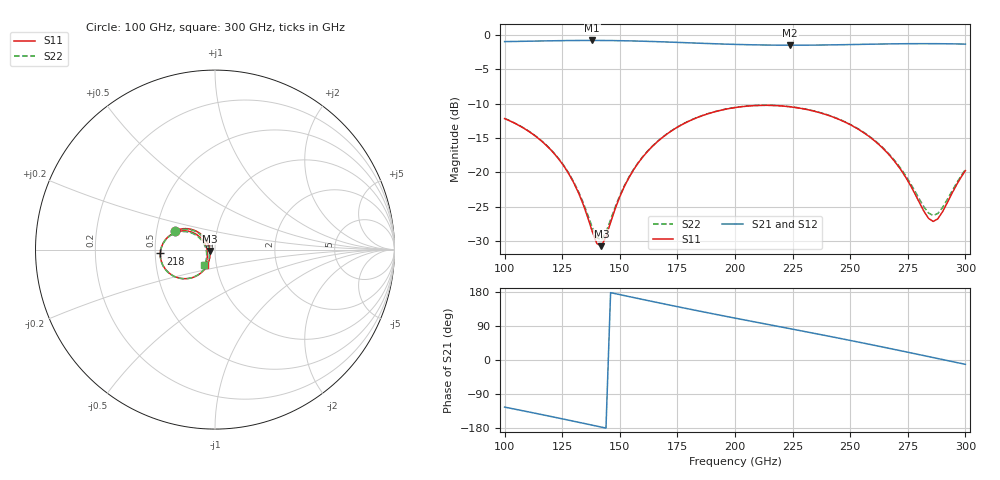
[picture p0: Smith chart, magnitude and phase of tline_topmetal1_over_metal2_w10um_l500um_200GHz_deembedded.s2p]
! Created with skrf 2.2.0 (http://scikit-rf.org).
# GHz S DB R 50.0
! Port[1] = P1
! Port[2] = P2
!freq dBS11 angS11 dBS21 angS21 dBS12 angS12 dBS22 angS22
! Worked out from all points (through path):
!   101 points, 100 GHz to 300 GHz, reference 50 ohm
!   highest |S21| = -0.85 dB at 138 GHz (marker M1); lowest = -1.5 dB at 224 GHz (marker M2)
!   group delay of S21, straight-line fit = 3.4 ps
!   lowest |S11| = -30.7 dB at 142 GHz (marker M3), VSWR 1.06, Z = 47.3 - j0.708 ohm
!   |S11| at or under -10 dB: start of sweep to end of sweep
!   |S22| runs from -29.8 to -10.3 dB; largest |S21 - S12| = 9.6e-14
!   S11 on the Smith chart (normalised r, x): 100 GHz: 0.62, +0.14; 218 GHz: 0.53, -0.02; 300 GHz: 0.88, -0.15
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100  -12.19 154.8  -1.01 -124.3  -1.01 -124.3  -12.17 155.7
120  -16.71 135.4  -0.90 -148.9  -0.90 -148.9  -16.66 136.9
128  -20.29 131.5  -0.86 -159.1  -0.86 -159.1  -20.18 133.6
134  -24.55 135.9  -0.85 -166.8  -0.85 -166.8  -24.29 138.8
138  -28.52 152.0  -0.85 -171.9  -0.85 -171.9  -27.93 155.2
140  -30.31 170.2  -0.85 -174.5  -0.85 -174.5  -29.46 172.2
142  -30.71 -165.1  -0.85 -177.1  -0.85 -177.1  -29.80 -165.7
154  -20.74 -116.5  -0.91 167.4  -0.91 167.4  -20.65 -117.9
160  -17.75 -118.5  -0.96 159.7  -0.96 159.7  -17.70 -119.3
168  -15.06 -124.7  -1.04 149.5  -1.04 149.5  -15.04 -125.1
184  -11.99 -140.6  -1.24 129.7  -1.24 129.7  -11.97 -140.6
200  -10.59 -157.4  -1.42 110.6  -1.42 110.6  -10.58 -157.0
218  -10.31 -176.0  -1.53 89.5  -1.53 89.5  -10.29 -175.4
224  -10.48 177.8  -1.53 82.5  -1.53 82.5  -10.46 178.6
234  -11.09 167.8  -1.52 70.8  -1.52 70.8  -11.06 168.7
254  -13.83 149.0  -1.42 46.8  -1.42 46.8  -13.78 150.5
268  -17.88 140.5  -1.34 29.4  -1.34 29.4  -17.75 142.8
274  -20.65 141.7  -1.32 21.8  -1.32 21.8  -20.43 144.5
282  -25.64 161.3  -1.31 11.6  -1.31 11.6  -25.01 164.2
286  -27.11 -171.9  -1.31 6.4  -1.31 6.4  -26.26 -171.4
290  -25.76 -144.6  -1.32 1.3  -1.32 1.3  -25.14 -146.6
300  -19.73 -122.9  -1.38 -11.5  -1.38 -11.5  -19.57 -124.4
